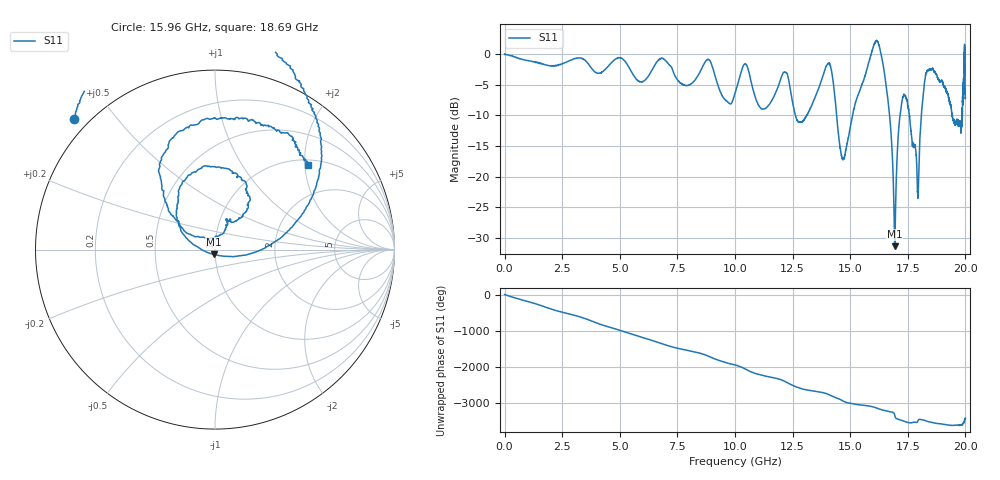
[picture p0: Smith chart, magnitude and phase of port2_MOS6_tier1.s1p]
! Created with skrf 1.8.0 (http://scikit-rf.org).
# GHz S RI R 50.0
!freq ReS11 ImS11
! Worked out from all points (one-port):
!   10000 points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, 3 MHz to 20 GHz, reference 50 ohm
!   lowest |S11| = -31.3 dB at 16.94 GHz (marker M1), VSWR 1.06, Z = 49.2 - j2.56 ohm
!   |S11| at or under -10 dB: 12.62 GHz to 13.12 GHz (494.5 MHz wide, 3.84 % of centre); 14.41 GHz to 15.11 GHz (697 MHz wide, 4.72 % of centre); 17.57 GHz to 18.09 GHz (523.2 MHz wide, 2.93 % of centre) (the widest 3 of 9)
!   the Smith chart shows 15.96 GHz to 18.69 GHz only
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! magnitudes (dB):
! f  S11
! 3 MHz  0.0
! 2.503 GHz  -1.6
! 4.103 GHz  -3.1
! 5.003 GHz  -0.6
! 5.869 GHz  -4.6
! 6.815 GHz  -0.7
! 7.503 GHz  -4.2
! 8.843 GHz  -0.9
! 9.531 GHz  -7.3
! 10 GHz  -6.4
! 10.45 GHz  -1.7
! 11.13 GHz  -8.9
! 12.16 GHz  -3.0
! 12.5 GHz  -7.9
! 12.97 GHz  -10.9
! 14.07 GHz  -1.5
! 14.64 GHz  -16.9
! 15 GHz  -12.0
! 16.2 GHz  2.0
! 16.64 GHz  -7.5
! 16.94 GHz  -31.3
! 17.21 GHz  -8.8
! 17.5 GHz  -8.5
! 17.92 GHz  -21.7
! 18.19 GHz  -6.1
! 18.36 GHz  -2.7
! 19.74 GHz  -11.1
! 20 GHz  -7.1
